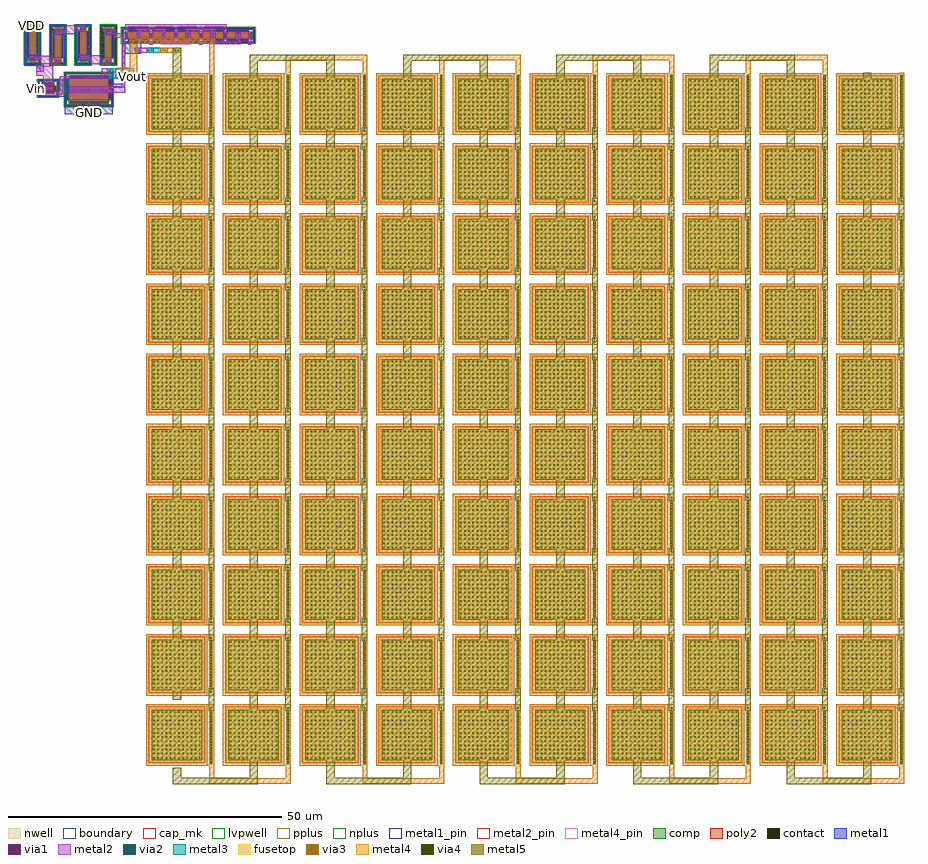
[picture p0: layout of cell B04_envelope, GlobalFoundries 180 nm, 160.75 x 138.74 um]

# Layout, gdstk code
from math import pi, radians
import gdstk
lib = gdstk.Library(unit=1e-6, precision=1e-09)
def R(c, l, rs):  # rectangles x0, y0, x1, y1
    for r in rs: c.add(gdstk.rectangle(r[:2], r[2:], *l))
def A(c, l, x, y, w, h, nx, ny, dx, dy):  # array of equal rectangles
    R(c, l, [(x+i*dx, y+j*dy, x+i*dx+w, y+j*dy+h) for i in range(nx) for j in range(ny)])
boundary = (0, 0)
nwell = (21, 0)
comp = (22, 0)
poly2 = (30, 0)
pplus = (31, 0)
nplus = (32, 0)
contact = (33, 0)
metal1 = (34, 0)
metal1_pin = (34, 10)
via1 = (35, 0)
metal2 = (36, 0)
metal2_pin = (36, 10)
via2 = (38, 0)
via3 = (40, 0)
via4 = (41, 0)
metal3 = (42, 0)
metal4 = (46, 0)
metal4_pin = (46, 10)
fusetop = (75, 0)
metal5 = (81, 0)
cap_mk = (117, 5)
lvpwell = (204, 0)

cap_mim_2p0ff_5gvgcq = lib.new_cell('cap_mim_2p0fF_5GVGCQ')
R(cap_mim_2p0ff_5gvgcq, boundary, [(-6.2,-5.6,5,5.6)])
A(cap_mim_2p0ff_5gvgcq, via4, 5.54, -5.07, 0.26, 0.26, 1, 20, 0, 0.52)
A(cap_mim_2p0ff_5gvgcq, via4, -4.91, -4.31, 0.26, 0.26, 12, 12, 0.76, 0.76)
R(cap_mim_2p0ff_5gvgcq, metal4, [(-6.2,-5.6,6.2,5.6)])
R(cap_mim_2p0ff_5gvgcq, fusetop, [(-5.6,-5,4.4,5)])
R(cap_mim_2p0ff_5gvgcq, metal5, [(5.45,-5.315,5.89,5.315), (-5.2,-4.6,4,4.6)])
R(cap_mim_2p0ff_5gvgcq, cap_mk, [(-5.8,-5.2,4.6,5.2)])

nfet_03v3_5636dv = lib.new_cell('nfet_03v3_5636DV')
R(nfet_03v3_5636dv, boundary, [(-1.45,-1.75,1.45,1.75)])
R(nfet_03v3_5636dv, comp, [(-1.63,-1.93,1.63,-1.57), (-1.63,-1.57,-1.27,1.57), (1.27,-1.57,1.63,1.57), (-0.94,-1,0.94,1), (-1.63,1.57,1.63,1.93)])
R(nfet_03v3_5636dv, poly2, [(-0.5,-1.46,0.5,1.46)])
R(nfet_03v3_5636dv, pplus, [(-1.65,-1.95,1.65,-1.55), (-1.65,-1.55,-1.24,-1.445), (1.24,-1.55,1.65,-1.445), (-1.66,-1.445,-1.24,1.445), (1.24,-1.445,1.66,1.445), (-1.65,1.445,-1.24,1.55), (1.24,1.445,1.65,1.55), (-1.65,1.55,1.65,1.95)])
R(nfet_03v3_5636dv, nplus, [(-0.73,-1.23,0.73,-1.16), (-1.1,-1.16,1.1,1.16), (-0.73,1.16,0.73,1.23)])
A(nfet_03v3_5636dv, contact, -1.56, -1.285, 0.22, 0.22, 1, 6, 0, 0.47)
A(nfet_03v3_5636dv, contact, 1.34, -1.285, 0.22, 0.22, 1, 6, 0, 0.47)
A(nfet_03v3_5636dv, contact, -0.87, -0.815, 0.22, 0.22, 1, 4, 0, 0.47)
A(nfet_03v3_5636dv, contact, 0.65, -0.815, 0.22, 0.22, 1, 4, 0, 0.47)
R(nfet_03v3_5636dv, contact, [(-0.345,-1.39,-0.125,-1.17), (0.125,-1.39,0.345,-1.17), (-0.345,1.17,-0.125,1.39), (0.125,1.17,0.345,1.39)])
R(nfet_03v3_5636dv, metal1, [(-1.565,-1.865,1.565,-1.635), (-1.565,-1.635,-1.335,1.635), (1.335,-1.635,1.565,1.635), (-0.49,-1.395,0.49,-1.165), (-0.875,-0.99,-0.645,0.99), (0.645,-0.99,0.875,0.99), (-0.49,1.165,0.49,1.395), (-1.565,1.635,1.565,1.865)])
R(nfet_03v3_5636dv, lvpwell, [(-1.75,-2.05,1.75,2.05)])

nfet_03v3_jcpgdk = lib.new_cell('nfet_03v3_JCPGDK')
R(nfet_03v3_jcpgdk, boundary, [(-2.95,-4.25,2.95,4.25)])
R(nfet_03v3_jcpgdk, comp, [(-3.13,-4.43,3.13,-4.07), (-3.13,-4.07,-2.77,4.07), (2.77,-4.07,3.13,4.07), (-2.44,-3.5,2.44,3.5), (-3.13,4.07,3.13,4.43)])
R(nfet_03v3_jcpgdk, poly2, [(-2,-3.96,2,3.96)])
R(nfet_03v3_jcpgdk, pplus, [(-3.15,-4.45,3.15,-4.05), (-3.15,-4.05,-2.74,-3.945), (2.74,-4.05,3.15,-3.945), (-3.16,-3.945,-2.74,3.945), (2.74,-3.945,3.16,3.945), (-3.15,3.945,-2.74,4.05), (2.74,3.945,3.15,4.05), (-3.15,4.05,3.15,4.45)])
R(nfet_03v3_jcpgdk, nplus, [(-2.23,-3.73,2.23,-3.66), (-2.6,-3.66,2.6,3.66), (-2.23,3.66,2.23,3.73)])
A(nfet_03v3_jcpgdk, contact, -1.755, -3.89, 0.22, 0.22, 8, 2, 0.47, 7.56)
A(nfet_03v3_jcpgdk, contact, -3.06, -3.635, 0.22, 0.22, 1, 16, 0, 0.47)
A(nfet_03v3_jcpgdk, contact, 2.84, -3.635, 0.22, 0.22, 1, 16, 0, 0.47)
A(nfet_03v3_jcpgdk, contact, -2.37, -3.4, 0.22, 0.22, 1, 15, 0, 0.47)
A(nfet_03v3_jcpgdk, contact, 2.15, -3.4, 0.22, 0.22, 1, 15, 0, 0.47)
R(nfet_03v3_jcpgdk, metal1, [(-3.065,-4.365,3.065,-4.135), (-3.065,-4.135,-2.835,4.135), (2.835,-4.135,3.065,4.135), (-1.99,-3.895,1.99,-3.665), (-2.375,-3.49,-2.145,3.49), (2.145,-3.49,2.375,3.49), (-1.99,3.665,1.99,3.895), (-3.065,4.135,3.065,4.365)])
R(nfet_03v3_jcpgdk, lvpwell, [(-3.25,-4.55,3.25,4.55)])

nfet_03v3_l7zfl9 = lib.new_cell('nfet_03v3_L7ZFL9')
R(nfet_03v3_l7zfl9, boundary, [(-11.99,-1.25,11.99,1.25)])
R(nfet_03v3_l7zfl9, comp, [(-12.17,-1.43,12.17,-1.07), (-12.17,-1.07,-11.81,1.07), (11.81,-1.07,12.17,1.07), (-11.48,-0.5,11.48,0.5), (-12.17,1.07,12.17,1.43)])
A(nfet_03v3_l7zfl9, poly2, -11.04, -0.96, 4, 1.92, 5, 1, 4.52, 0)
R(nfet_03v3_l7zfl9, pplus, [(-12.19,-1.45,12.19,-1.05), (-12.19,-1.05,-11.78,-0.945), (11.78,-1.05,12.19,-0.945), (-12.2,-0.945,-11.78,0.945), (11.78,-0.945,12.2,0.945), (-12.19,0.945,-11.78,1.05), (11.78,0.945,12.19,1.05), (-12.19,1.05,12.19,1.45)])
R(nfet_03v3_l7zfl9, nplus, [(-11.27,-0.73,11.27,-0.66), (-11.64,-0.66,11.64,0.66), (-11.27,0.66,11.27,0.73)])
A(nfet_03v3_l7zfl9, contact, -10.795, -0.89, 0.22, 0.22, 8, 2, 0.47, 1.56)
A(nfet_03v3_l7zfl9, contact, -6.275, -0.89, 0.22, 0.22, 8, 2, 0.47, 1.56)
A(nfet_03v3_l7zfl9, contact, -1.755, -0.89, 0.22, 0.22, 8, 2, 0.47, 1.56)
A(nfet_03v3_l7zfl9, contact, 2.765, -0.89, 0.22, 0.22, 8, 2, 0.47, 1.56)
A(nfet_03v3_l7zfl9, contact, 7.285, -0.89, 0.22, 0.22, 8, 2, 0.47, 1.56)
A(nfet_03v3_l7zfl9, contact, -12.1, -0.815, 0.22, 0.22, 1, 4, 0, 0.47)
A(nfet_03v3_l7zfl9, contact, 11.88, -0.815, 0.22, 0.22, 1, 4, 0, 0.47)
A(nfet_03v3_l7zfl9, contact, -11.41, -0.345, 0.22, 0.22, 6, 2, 4.52, 0.47)
A(nfet_03v3_l7zfl9, metal1, -11.03, -0.895, 3.98, 0.23, 5, 2, 4.52, 1.56)
A(nfet_03v3_l7zfl9, metal1, -11.415, -0.49, 0.23, 0.98, 6, 1, 4.52, 0)
R(nfet_03v3_l7zfl9, metal1, [(-12.105,-1.365,12.105,-1.135), (-12.105,-1.135,-11.875,1.135), (11.875,-1.135,12.105,1.135), (-12.105,1.135,12.105,1.365)])
R(nfet_03v3_l7zfl9, lvpwell, [(-12.29,-1.55,12.29,1.55)])

pfet_03v3_c44bvq = lib.new_cell('pfet_03v3_C44BVQ')
R(pfet_03v3_c44bvq, boundary, [(-3.45,-1.25,3.45,1.25)])
R(pfet_03v3_c44bvq, nwell, [(-3.75,-1.55,3.75,1.55)])
R(pfet_03v3_c44bvq, comp, [(-3.63,-1.43,3.63,-1.07), (-3.63,-1.07,-3.27,1.07), (3.27,-1.07,3.63,1.07), (-2.94,-0.5,2.94,0.5), (-3.63,1.07,3.63,1.43)])
R(pfet_03v3_c44bvq, poly2, [(-2.5,-0.96,2.5,0.96)])
R(pfet_03v3_c44bvq, pplus, [(-2.73,-0.73,2.73,-0.66), (-3.1,-0.66,3.1,0.66), (-2.73,0.66,2.73,0.73)])
R(pfet_03v3_c44bvq, nplus, [(-3.79,-1.59,3.79,-0.96), (-3.79,-0.96,-3.16,0.96), (3.16,-0.96,3.79,0.96), (-3.79,0.96,3.79,1.59)])
A(pfet_03v3_c44bvq, contact, -2.225, -0.89, 0.22, 0.22, 10, 2, 0.47, 1.56)
A(pfet_03v3_c44bvq, contact, -3.56, -0.815, 0.22, 0.22, 1, 4, 0, 0.47)
A(pfet_03v3_c44bvq, contact, 3.34, -0.815, 0.22, 0.22, 1, 4, 0, 0.47)
R(pfet_03v3_c44bvq, contact, [(-2.87,-0.345,-2.65,-0.125), (2.65,-0.345,2.87,-0.125), (-2.87,0.125,-2.65,0.345), (2.65,0.125,2.87,0.345)])
R(pfet_03v3_c44bvq, metal1, [(-3.565,-1.365,3.565,-1.135), (-3.565,-1.135,-3.335,1.135), (3.335,-1.135,3.565,1.135), (-2.49,-0.895,2.49,-0.665), (-2.875,-0.49,-2.645,0.49), (2.645,-0.49,2.875,0.49), (-2.49,0.665,2.49,0.895), (-3.565,1.135,3.565,1.365)])

b04_envelope = lib.new_cell('B04_envelope')
A(b04_envelope, metal1, 25.15, 5.05, 0.6, 0.8, 3, 1, 4.5, 0)
R(b04_envelope, metal1, [(5.15,-8.95,13.9,-7.3), (8.2,-7.3,11.35,-6.6), (3.75,-5.75,5.35,-2.65), (1.2,-5.3,3,-4.8), (5.65,-5.05,13.45,-3.85), (0.75,-4.55,3.4,-4.5), (0.75,-4.5,3.45,-3.9), (13.7,-4.1,16.15,-3.4), (1.2,-3.65,3,-3.15), (15.65,-3.4,16.15,2.1), (6.2,-2.45,12.9,-2), (-0.1,-1.15,1.35,0), (-2.35,0,1.35,0.4), (3.4,0.2,4.4,1.05), (12.6,0.25,13.6,1.05), (-2.35,0.4,-1.85,6.6), (-1.6,0.85,0.2,1.9), (7.6,0.85,9.4,1.9), (15.65,2.1,19.15,4.2), (20.6,3.75,21.2,4.2), (29.65,3.75,30.25,4.2), (38.6,3.75,39.2,4.2), (24.5,4.1,28.1,4.3), (15.65,4.2,16.15,4.3), (18.1,4.55,19.1,6.35), (22.7,4.55,23.7,6.35), (27.15,4.55,28.15,6.35), (31.7,4.55,32.7,6.35), (36.3,4.55,37.3,6.35), (16.15,5.05,16.75,5.85), (20.6,5.05,21.2,5.85), (38.6,5.05,39.2,5.85), (3,5.6,4.8,6.65), (12.2,5.6,14,6.65), (8,6.45,9,7.1), (-1.2,6.5,-0.2,6.6), (-2.35,6.6,0.55,7.1), (-2.35,7.1,0.7,7.5), (2.5,7.1,5.35,7.5), (7.1,7.1,9.85,7.5), (11.75,7.1,14.45,7.2)])
R(b04_envelope, metal1_pin, [(8.75,-8.8,10.5,-8.55), (-1.8,7.15,-0.05,7.4)])
A(b04_envelope, via1, 1.45, -5.18, 0.26, 0.26, 3, 2, 0.52, 1.65)
A(b04_envelope, via1, 6.3, -4.605, 0.26, 0.26, 13, 2, 0.52, 2.225)
A(b04_envelope, via1, 1.19, -4.355, 0.26, 0.26, 4, 1, 0.52, 0)
A(b04_envelope, via1, 25.32, 5.32, 0.26, 0.26, 3, 1, 4.5, 0)
R(b04_envelope, via1, [(0.495,-0.705,0.755,-0.445), (3.51,0.52,3.77,0.78), (4.03,0.52,4.29,0.78), (12.71,0.52,12.97,0.78), (13.23,0.52,13.49,0.78), (-1.09,1.17,-0.83,1.43), (-0.57,1.17,-0.31,1.43), (8.11,1.27,8.37,1.53), (8.63,1.27,8.89,1.53), (18.06,2.57,18.32,2.83), (18.58,2.57,18.84,2.83), (20.77,3.895,21.03,4.155), (29.82,3.895,30.08,4.155), (38.77,3.895,39.03,4.155), (18.47,5.06,18.73,5.32), (23.07,5.06,23.33,5.32), (27.52,5.06,27.78,5.32), (32.07,5.06,32.33,5.32), (36.67,5.06,36.93,5.32), (16.32,5.32,16.58,5.58), (20.77,5.32,21.03,5.58), (38.77,5.32,39.03,5.58), (18.47,5.58,18.73,5.84), (23.07,5.58,23.33,5.84), (27.52,5.58,27.78,5.84), (32.07,5.58,32.33,5.84), (36.67,5.58,36.93,5.84), (3.51,5.97,3.77,6.23), (4.03,5.97,4.29,6.23), (12.71,6.02,12.97,6.28), (13.23,6.02,13.49,6.28), (8.11,6.72,8.37,6.98), (8.63,6.72,8.89,6.98)])
R(b04_envelope, metal2, [(1.2,-5.3,4.8,-4.85), (5.9,-5.05,16.15,-3.85), (4.2,-4.85,4.8,-2.5), (-0.15,-4.55,3.25,-3.95), (15.55,-3.85,16.15,5.05), (1.2,-3.65,3,-1.9), (4.2,-2.5,14.55,-2), (11.85,-2,14.55,-0.5), (-0.1,-1.9,3,-0.1), (0.75,0.2,4.4,0.85), (9.95,0.2,13.6,0.95), (-1.2,0.85,4.4,1.1), (8,0.95,13.6,1.1), (-1.2,1.1,2.45,1.75), (8,1.1,11.65,1.85), (17.9,2.25,21.35,3.2), (20.6,3.75,21.2,5.85), (29.65,3.75,30.25,5.85), (38.6,3.75,39.2,5.85), (22.7,3.85,28.15,4.5), (31.7,3.85,37.3,4.5), (22.7,4.5,23.7,6.15), (25.15,4.5,25.75,7), (27.15,4.5,28.15,6.15), (31.7,4.5,32.75,6.15), (34.15,4.5,34.75,7), (36.3,4.5,37.3,6.1), (18.1,4.8,19.1,6.15), (14.15,5.05,16.75,5.7), (3.4,5.65,7.05,6.4), (12.6,5.7,16.75,5.85), (12.6,5.85,14.55,6.6), (16.15,5.85,16.75,7), (18.1,6.15,23.7,6.7), (27.15,6.15,32.75,6.7), (3.4,6.4,9,6.55), (5.35,6.55,9,7.3), (20.45,6.7,21.55,7), (29.35,6.7,30.55,7), (16.15,7,34.75,7.45)])
R(b04_envelope, metal2_pin, [(-0.1,-4.35,-0.05,-4.2)])
A(b04_envelope, via2, 13.26, -2.125, 0.26, 0.26, 1, 3, 0, 0.52)
A(b04_envelope, via2, 13.78, -2.125, 0.26, 0.26, 1, 3, 0, 0.52)
R(b04_envelope, via2, [(20.31,2.62,20.57,2.88), (20.83,2.62,21.09,2.88)])
A(b04_envelope, via3, 15.215, -2.175, 0.26, 0.26, 4, 3, 0.52, 0.52)
R(b04_envelope, via3, [(22.91,2.62,23.17,2.88), (23.43,2.62,23.69,2.88)])
R(b04_envelope, via4, [(25.26,2.57,25.52,2.83), (25.78,2.57,26.04,2.83)])
R(b04_envelope, metal3, [(12.9,-2.5,17.75,-0.5), (20.15,2.25,23.95,3.2)])
A(b04_envelope, metal4, 31.5, -131.15, 14.9, 1, 5, 1, 28, 0)
A(b04_envelope, metal4, 31.5, -130.15, 0.9, 12.3, 10, 1, 14, 0)
A(b04_envelope, metal4, 45.5, -11.3, 0.9, 12.2, 8, 1, 14, 0)
A(b04_envelope, metal4, 45.5, 0.9, 14.9, 1, 4, 1, 28, 0)
R(b04_envelope, metal4, [(31.5,-11.3,32.4,3.9), (157.5,-11.3,158.4,-1.4), (14.8,-2.55,18.4,-0.45), (17,-0.45,18.4,3.9), (22.6,2.25,26.4,3.2), (17,3.9,32.4,4.95)])
R(b04_envelope, metal4_pin, [(17.45,-2.5,17.75,-1.6)])
A(b04_envelope, metal5, 24.9, -131.2, 15.5, 1.1, 5, 1, 28, 0)
A(b04_envelope, metal5, 38.9, -130.1, 1.5, 130.95, 8, 1, 14, 0)
A(b04_envelope, metal5, 31.4, -117.85, 1, 4.1, 10, 9, 14, 12.8)
A(b04_envelope, metal5, 38.9, 0.85, 15.5, 1.1, 4, 1, 28, 0)
R(b04_envelope, metal5, [(24.9,-130.1,26.4,-128.25), (150.9,-130.1,152.4,-1.4), (24.9,-115.85,26.4,3.2)])
b04_envelope.add(gdstk.Reference(cap_mim_2p0ff_5gvgcq, (82.2,-122.25)))
b04_envelope.add(gdstk.Reference(cap_mim_2p0ff_5gvgcq, (82.2,-109.45)))
b04_envelope.add(gdstk.Reference(cap_mim_2p0ff_5gvgcq, (82.2,-96.65)))
b04_envelope.add(gdstk.Reference(cap_mim_2p0ff_5gvgcq, (82.2,-83.85)))
b04_envelope.add(gdstk.Reference(cap_mim_2p0ff_5gvgcq, (82.2,-71.05)))
b04_envelope.add(gdstk.Reference(cap_mim_2p0ff_5gvgcq, (26.2,-58.25)))
b04_envelope.add(gdstk.Reference(cap_mim_2p0ff_5gvgcq, (40.2,-58.25)))
b04_envelope.add(gdstk.Reference(cap_mim_2p0ff_5gvgcq, (54.2,-58.25)))
b04_envelope.add(gdstk.Reference(cap_mim_2p0ff_5gvgcq, (68.2,-58.25)))
b04_envelope.add(gdstk.Reference(cap_mim_2p0ff_5gvgcq, (82.2,-58.25)))
b04_envelope.add(gdstk.Reference(cap_mim_2p0ff_5gvgcq, (96.2,-58.25)))
b04_envelope.add(gdstk.Reference(cap_mim_2p0ff_5gvgcq, (110.2,-58.25)))
b04_envelope.add(gdstk.Reference(cap_mim_2p0ff_5gvgcq, (124.2,-58.25)))
b04_envelope.add(gdstk.Reference(cap_mim_2p0ff_5gvgcq, (138.2,-58.25)))
b04_envelope.add(gdstk.Reference(cap_mim_2p0ff_5gvgcq, (152.2,-58.25)))
b04_envelope.add(gdstk.Reference(cap_mim_2p0ff_5gvgcq, (82.2,-45.45)))
b04_envelope.add(gdstk.Reference(cap_mim_2p0ff_5gvgcq, (82.2,-32.65)))
b04_envelope.add(gdstk.Reference(cap_mim_2p0ff_5gvgcq, (82.2,-19.85)))
b04_envelope.add(gdstk.Reference(cap_mim_2p0ff_5gvgcq, (82.2,-7.05)))
b04_envelope.add(gdstk.Reference(cap_mim_2p0ff_5gvgcq, (138.2,-45.45)))
b04_envelope.add(gdstk.Reference(cap_mim_2p0ff_5gvgcq, (152.2,-45.45)))
b04_envelope.add(gdstk.Reference(cap_mim_2p0ff_5gvgcq, (96.2,-45.45)))
b04_envelope.add(gdstk.Reference(cap_mim_2p0ff_5gvgcq, (96.2,-32.65)))
b04_envelope.add(gdstk.Reference(cap_mim_2p0ff_5gvgcq, (110.2,-32.65)))
b04_envelope.add(gdstk.Reference(cap_mim_2p0ff_5gvgcq, (124.2,-32.65)))
b04_envelope.add(gdstk.Reference(cap_mim_2p0ff_5gvgcq, (138.2,-32.65)))
b04_envelope.add(gdstk.Reference(cap_mim_2p0ff_5gvgcq, (152.2,-32.65)))
b04_envelope.add(gdstk.Reference(cap_mim_2p0ff_5gvgcq, (110.2,-45.45)))
b04_envelope.add(gdstk.Reference(cap_mim_2p0ff_5gvgcq, (96.2,-19.85)))
b04_envelope.add(gdstk.Reference(cap_mim_2p0ff_5gvgcq, (110.2,-19.85)))
b04_envelope.add(gdstk.Reference(cap_mim_2p0ff_5gvgcq, (124.2,-19.85)))
b04_envelope.add(gdstk.Reference(cap_mim_2p0ff_5gvgcq, (138.2,-19.85)))
b04_envelope.add(gdstk.Reference(cap_mim_2p0ff_5gvgcq, (152.2,-19.85)))
b04_envelope.add(gdstk.Reference(cap_mim_2p0ff_5gvgcq, (124.2,-45.45)))
b04_envelope.add(gdstk.Reference(cap_mim_2p0ff_5gvgcq, (96.2,-7.05)))
b04_envelope.add(gdstk.Reference(cap_mim_2p0ff_5gvgcq, (110.2,-7.05)))
b04_envelope.add(gdstk.Reference(cap_mim_2p0ff_5gvgcq, (124.2,-7.05)))
b04_envelope.add(gdstk.Reference(cap_mim_2p0ff_5gvgcq, (138.2,-7.05)))
b04_envelope.add(gdstk.Reference(cap_mim_2p0ff_5gvgcq, (152.2,-7.05)))
b04_envelope.add(gdstk.Reference(cap_mim_2p0ff_5gvgcq, (54.2,-32.65)))
b04_envelope.add(gdstk.Reference(cap_mim_2p0ff_5gvgcq, (68.2,-32.65)))
b04_envelope.add(gdstk.Reference(cap_mim_2p0ff_5gvgcq, (54.2,-45.45)))
b04_envelope.add(gdstk.Reference(cap_mim_2p0ff_5gvgcq, (68.2,-45.45)))
b04_envelope.add(gdstk.Reference(cap_mim_2p0ff_5gvgcq, (26.2,-45.45)))
b04_envelope.add(gdstk.Reference(cap_mim_2p0ff_5gvgcq, (40.2,-45.45)))
b04_envelope.add(gdstk.Reference(cap_mim_2p0ff_5gvgcq, (26.2,-7.05)))
b04_envelope.add(gdstk.Reference(nfet_03v3_5636dv, (2.1,-4.2), rotation=3*pi/2))
b04_envelope.add(gdstk.Reference(nfet_03v3_jcpgdk, (9.55,-4.4), rotation=3*pi/2))
b04_envelope.add(gdstk.Reference(cap_mim_2p0ff_5gvgcq, (40.2,-7.05)))
b04_envelope.add(gdstk.Reference(cap_mim_2p0ff_5gvgcq, (54.2,-7.05)))
b04_envelope.add(gdstk.Reference(cap_mim_2p0ff_5gvgcq, (68.2,-7.05)))
b04_envelope.add(gdstk.Reference(cap_mim_2p0ff_5gvgcq, (26.2,-32.65)))
b04_envelope.add(gdstk.Reference(cap_mim_2p0ff_5gvgcq, (40.2,-32.65)))
b04_envelope.add(gdstk.Reference(cap_mim_2p0ff_5gvgcq, (26.2,-19.85)))
b04_envelope.add(gdstk.Reference(cap_mim_2p0ff_5gvgcq, (40.2,-19.85)))
b04_envelope.add(gdstk.Reference(cap_mim_2p0ff_5gvgcq, (54.2,-19.85)))
b04_envelope.add(gdstk.Reference(cap_mim_2p0ff_5gvgcq, (68.2,-19.85)))
b04_envelope.add(gdstk.Reference(nfet_03v3_l7zfl9, (27.69,5.45), rotation=pi))
b04_envelope.add(gdstk.Reference(pfet_03v3_c44bvq, (-0.7,3.75), rotation=3*pi/2))
b04_envelope.add(gdstk.Reference(pfet_03v3_c44bvq, (3.9,3.75), rotation=pi/2))
b04_envelope.add(gdstk.Reference(pfet_03v3_c44bvq, (8.5,3.75), rotation=3*pi/2))
b04_envelope.add(gdstk.Reference(pfet_03v3_c44bvq, (13.1,3.75), rotation=pi/2))
b04_envelope.add(gdstk.Reference(cap_mim_2p0ff_5gvgcq, (54.2,-71.05)))
b04_envelope.add(gdstk.Reference(cap_mim_2p0ff_5gvgcq, (68.2,-71.05)))
b04_envelope.add(gdstk.Reference(cap_mim_2p0ff_5gvgcq, (26.2,-122.25)))
b04_envelope.add(gdstk.Reference(cap_mim_2p0ff_5gvgcq, (26.2,-109.45)))
b04_envelope.add(gdstk.Reference(cap_mim_2p0ff_5gvgcq, (40.2,-109.45)))
b04_envelope.add(gdstk.Reference(cap_mim_2p0ff_5gvgcq, (54.2,-109.45)))
b04_envelope.add(gdstk.Reference(cap_mim_2p0ff_5gvgcq, (68.2,-109.45)))
b04_envelope.add(gdstk.Reference(cap_mim_2p0ff_5gvgcq, (40.2,-122.25)))
b04_envelope.add(gdstk.Reference(cap_mim_2p0ff_5gvgcq, (26.2,-96.65)))
b04_envelope.add(gdstk.Reference(cap_mim_2p0ff_5gvgcq, (40.2,-96.65)))
b04_envelope.add(gdstk.Reference(cap_mim_2p0ff_5gvgcq, (54.2,-96.65)))
b04_envelope.add(gdstk.Reference(cap_mim_2p0ff_5gvgcq, (68.2,-96.65)))
b04_envelope.add(gdstk.Reference(cap_mim_2p0ff_5gvgcq, (54.2,-122.25)))
b04_envelope.add(gdstk.Reference(cap_mim_2p0ff_5gvgcq, (26.2,-83.85)))
b04_envelope.add(gdstk.Reference(cap_mim_2p0ff_5gvgcq, (40.2,-83.85)))
b04_envelope.add(gdstk.Reference(cap_mim_2p0ff_5gvgcq, (54.2,-83.85)))
b04_envelope.add(gdstk.Reference(cap_mim_2p0ff_5gvgcq, (68.2,-83.85)))
b04_envelope.add(gdstk.Reference(cap_mim_2p0ff_5gvgcq, (68.2,-122.25)))
b04_envelope.add(gdstk.Reference(cap_mim_2p0ff_5gvgcq, (26.2,-71.05)))
b04_envelope.add(gdstk.Reference(cap_mim_2p0ff_5gvgcq, (40.2,-71.05)))
b04_envelope.add(gdstk.Reference(cap_mim_2p0ff_5gvgcq, (124.2,-109.45)))
b04_envelope.add(gdstk.Reference(cap_mim_2p0ff_5gvgcq, (138.2,-109.45)))
b04_envelope.add(gdstk.Reference(cap_mim_2p0ff_5gvgcq, (152.2,-109.45)))
b04_envelope.add(gdstk.Reference(cap_mim_2p0ff_5gvgcq, (96.2,-83.85)))
b04_envelope.add(gdstk.Reference(cap_mim_2p0ff_5gvgcq, (110.2,-83.85)))
b04_envelope.add(gdstk.Reference(cap_mim_2p0ff_5gvgcq, (124.2,-83.85)))
b04_envelope.add(gdstk.Reference(cap_mim_2p0ff_5gvgcq, (138.2,-83.85)))
b04_envelope.add(gdstk.Reference(cap_mim_2p0ff_5gvgcq, (152.2,-83.85)))
b04_envelope.add(gdstk.Reference(cap_mim_2p0ff_5gvgcq, (96.2,-122.25)))
b04_envelope.add(gdstk.Reference(cap_mim_2p0ff_5gvgcq, (110.2,-122.25)))
b04_envelope.add(gdstk.Reference(cap_mim_2p0ff_5gvgcq, (124.2,-122.25)))
b04_envelope.add(gdstk.Reference(cap_mim_2p0ff_5gvgcq, (138.2,-122.25)))
b04_envelope.add(gdstk.Reference(cap_mim_2p0ff_5gvgcq, (152.2,-122.25)))
b04_envelope.add(gdstk.Reference(cap_mim_2p0ff_5gvgcq, (96.2,-71.05)))
b04_envelope.add(gdstk.Reference(cap_mim_2p0ff_5gvgcq, (110.2,-71.05)))
b04_envelope.add(gdstk.Reference(cap_mim_2p0ff_5gvgcq, (124.2,-71.05)))
b04_envelope.add(gdstk.Reference(cap_mim_2p0ff_5gvgcq, (138.2,-71.05)))
b04_envelope.add(gdstk.Reference(cap_mim_2p0ff_5gvgcq, (152.2,-71.05)))
b04_envelope.add(gdstk.Reference(cap_mim_2p0ff_5gvgcq, (96.2,-96.65)))
b04_envelope.add(gdstk.Reference(cap_mim_2p0ff_5gvgcq, (110.2,-96.65)))
b04_envelope.add(gdstk.Reference(cap_mim_2p0ff_5gvgcq, (124.2,-96.65)))
b04_envelope.add(gdstk.Reference(cap_mim_2p0ff_5gvgcq, (138.2,-96.65)))
b04_envelope.add(gdstk.Reference(cap_mim_2p0ff_5gvgcq, (152.2,-96.65)))
b04_envelope.add(gdstk.Reference(cap_mim_2p0ff_5gvgcq, (96.2,-109.45)))
b04_envelope.add(gdstk.Reference(cap_mim_2p0ff_5gvgcq, (110.2,-109.45)))
b04_envelope.add(gdstk.Label('GND', (9.625,-8.675), layer=34, texttype=10))
b04_envelope.add(gdstk.Label('VDD', (-0.925,7.275), layer=34, texttype=10))
b04_envelope.add(gdstk.Label('Vin', (-0.075,-4.275), layer=36, texttype=10))
b04_envelope.add(gdstk.Label('Vout', (17.6,-2.05), layer=46, texttype=10))

lib.write_gds('B04_envelope.gds')
